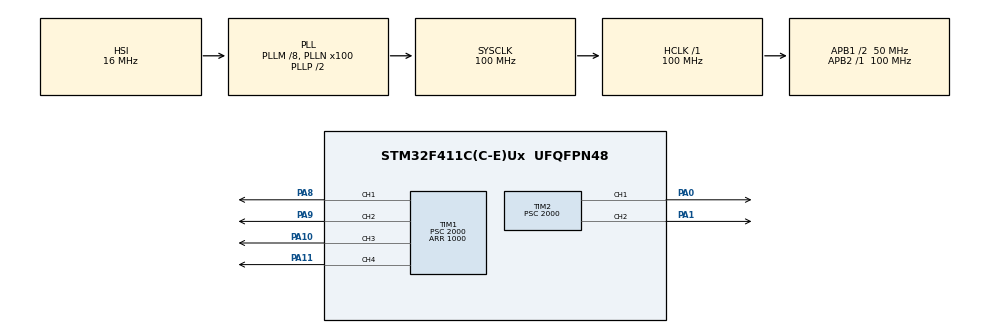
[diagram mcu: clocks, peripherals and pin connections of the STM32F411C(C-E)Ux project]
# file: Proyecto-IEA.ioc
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Mcu.Family=STM32F4
Mcu.Name=STM32F411C(C-E)Ux
Mcu.Package=UFQFPN48
NVIC.PriorityGroup=NVIC_PRIORITYGROUP_4
PA0-WKUP.Signal=S_TIM2_CH1_ETR
PA1.Signal=S_TIM2_CH2
PA10.Signal=S_TIM1_CH3
PA11.Signal=S_TIM1_CH4
PA8.Signal=S_TIM1_CH1
PA9.Signal=S_TIM1_CH2
ProjectManager.HeapSize=0x200
ProjectManager.StackSize=0x400
ProjectManager.TargetToolchain=STM32CubeIDE
RCC.48MHZClocksFreq_Value=50000000
RCC.AHBFreq_Value=100000000
RCC.APB1CLKDivider=RCC_HCLK_DIV2
RCC.APB1Freq_Value=50000000
RCC.APB1TimFreq_Value=100000000
RCC.APB2Freq_Value=100000000
RCC.APB2TimFreq_Value=100000000
RCC.CortexFreq_Value=100000000
RCC.HCLKFreq_Value=100000000
RCC.HSE_VALUE=25000000
RCC.HSI_VALUE=16000000
RCC.LSE_VALUE=32768
RCC.PLLM=8
RCC.PLLN=100
RCC.SYSCLKFreq_VALUE=100000000
RCC.SYSCLKSource=RCC_SYSCLKSOURCE_PLLCLK
RCC.VCOOutputFreq_Value=200000000
SH.S_TIM1_CH1.0=TIM1_CH1,PWM Generation1 CH1
SH.S_TIM1_CH2.0=TIM1_CH2,PWM Generation2 CH2
SH.S_TIM1_CH3.0=TIM1_CH3,PWM Generation3 CH3
SH.S_TIM1_CH4.0=TIM1_CH4,PWM Generation4 CH4
SH.S_TIM2_CH1_ETR.0=TIM2_CH1,PWM Generation1 CH1
SH.S_TIM2_CH2.0=TIM2_CH2,PWM Generation2 CH2
TIM1.Channel-PWM\ Generation1\ CH1=TIM_CHANNEL_1
TIM1.Channel-PWM\ Generation2\ CH2=TIM_CHANNEL_2
TIM1.Channel-PWM\ Generation3\ CH3=TIM_CHANNEL_3
TIM1.Channel-PWM\ Generation4\ CH4=TIM_CHANNEL_4
TIM1.Period=1000
TIM1.Prescaler=2000
TIM2.Channel-PWM\ Generation1\ CH1=TIM_CHANNEL_1
TIM2.Channel-PWM\ Generation2\ CH2=TIM_CHANNEL_2
TIM2.Period=1000
TIM2.Prescaler=2000
VP_RTC_VS_RTC_Activate.Mode=RTC_Enabled
board=custom

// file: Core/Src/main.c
/* USER CODE BEGIN Header */
/**
  ******************************************************************************
  * @file           : main.c
  * @brief          : Main program body
  ******************************************************************************
  * @attention
  *
  * Copyright (c) 2025 STMicroelectronics.
  * All rights reserved.
  *
  * This software is licensed under terms that can be found in the LICENSE file
  * in the root directory of this software component.
  * If no LICENSE file comes with this software, it is provided AS-IS.
  *
  ******************************************************************************
  */
/* USER CODE END Header */
#include "main.h"

/* USER CODE BEGIN Includes */
#include "math.h"
#include "stdio.h"
/* USER CODE END Includes */

RTC_HandleTypeDef hrtc;

TIM_HandleTypeDef htim1;
TIM_HandleTypeDef htim2;

void SystemClock_Config(void);
static void MX_GPIO_Init(void);
static void MX_RTC_Init(void);
static void MX_TIM1_Init(void);
static void MX_TIM2_Init(void);

/* USER CODE BEGIN 0 */
static float os=0,x=157,y=-15,z=140,q=-0.87266463,q1,q2,q3,q4,gripper,Valor_de_PWM1,Valor_de_PWM2,Valor_de_PWM3,Valor_de_PWM4,Valor_de_PWM5,Valor_de_PWM6;
static int eje=1,angulos,conversion[2];

void Control_Servo(float Angulo,int Posicion){

		float Maximo,Minimo;

	  	 switch (Posicion)
	  	 {
	  	 case 1: //EJE
	  		  Minimo=24;
	  		  Maximo=123;
	  		  Valor_de_PWM1=Minimo + (((Maximo-Minimo)/(180-0))*Angulo-0);
		      htim1.Instance->CCR1=Valor_de_PWM1;
	  	 break;
	  	 case 2: //EJE2
	  		  Minimo=125;
	  		  Maximo= 30;
	  		  Valor_de_PWM2=Minimo + (((Maximo-Minimo)/(180-0))*Angulo-0);
		      htim1.Instance->CCR2=Valor_de_PWM2;
	  	 break;
	  	 case 3: //EJE3
	  		  Minimo=23;
	  		  Maximo=122;
	  		  Valor_de_PWM3=(Minimo + ((Angulo+90)*(Maximo-Minimo)/(180)));
		      htim1.Instance->CCR3=Valor_de_PWM3;
	  	 break;
	  	 case 4: //EJE4
	  		  Minimo=126;
	  		  Maximo=28;
	  		  Valor_de_PWM4=(Minimo + ((Angulo+90)*(Maximo-Minimo)/(180)));
		      htim1.Instance->CCR4=Valor_de_PWM4;
	  	 break;
	  	 case 5: // EJE 5 DESHABILITADO
	  		  Valor_de_PWM5=Minimo + (((Maximo-Minimo)/(180-0))*Angulo-0);
		      htim2.Instance->CCR1=Valor_de_PWM5;
	  	 break;
	  	 case 6: //GRIPPER 0=ABIERTO 180=CERRADO
	  		  Minimo=23;
	  		  Maximo=123;
	  		  Valor_de_PWM6=Minimo + (((Maximo-Minimo)/(180-0))*Angulo-0);
		      htim2.Instance->CCR2=Valor_de_PWM6;
	  	 break;

	  	 }
}

void Cinematica_Inversa(void){
	static float ex,ez,c,l1=97.23,l2=95,l3=92,l4=58;

	q1=atan2(y,x);
	ex=(x/cos(q1))-l4*cos(q);
	ez=z-l1-(l4*sin(q));
	c=(pow(ex,2)+pow(ez,2)-pow(l2,2)-pow(l3,2))/(2*l2*l3);
	q3=-acos(c);
	q2=atan2(ez,ex)-atan2((l3*sin(q3)),(l2+l3*cos(q3)));

    q4=q-q2-q3;

    q1=(q1*180)/3.141592653589;
    q2=(q2*180)/3.141592653589;
    q3=(q3*180)/3.141592653589;
    q4=(q4*180)/3.141592653589;

	 Control_Servo(q1,1);
	 Control_Servo(q2,2);
	 Control_Servo(q3,3);
	 Control_Servo(q4,4);
}
void abrirgripper(void){
	  HAL_Delay(1000);
	  Control_Servo(25,6);
	  HAL_Delay(1000);
}
void cerrargripper(void){
	  HAL_Delay(1000);
	  Control_Servo(180,6);
	  HAL_Delay(1000);
}
void secuencia(void){

	  abrirgripper();
	  x=175;
	  y=5;
	  z=65;
	  q=-0.837758064;
	  Cinematica_Inversa();
	  HAL_Delay(1000);

	  x=174;
	  y=27;
	  z=39;
	  q=-0.837758064;
	  Cinematica_Inversa();
	  HAL_Delay(1000);

	  x=203;
	  y=-15;
	  z=48;
	  q=-0.453785598;
	  Cinematica_Inversa();
	  HAL_Delay(1000);

	  x=201;
	  y=-15;
	  z=30;
	  q=-0.453785598;
	  Cinematica_Inversa();
	  cerrargripper();

	  x=150;
	  y=91;
	  z=77;
	  q=0.244346097;
	  Cinematica_Inversa();
	  HAL_Delay(1000);

	  x=111;
	  y=90;
	  z=232;
	  q=0.0174532924;
	  Cinematica_Inversa();
	  HAL_Delay(1000);

	  x=141;
	  y=20;
	  z=248;
	  q=0;
	  Cinematica_Inversa();
	  HAL_Delay(1000);

	  x=145;
	  y=-15;
	  z=260;
	  q=0;
	  Cinematica_Inversa();
	  HAL_Delay(1000);

	  x=192;
	  y=-15;
	  z=218;
	  q=0;
	  Cinematica_Inversa();
	  HAL_Delay(1000);
	  abrirgripper();

	  x=90;
	  y=-15;
	  z=218;
	  q=0;
	  Cinematica_Inversa();
	  HAL_Delay(1000);

	  x=84;
	  y=92;
	  z=45;
	  q=-1.79768908;
	  Cinematica_Inversa();
	  HAL_Delay(1000);

}
/* USER CODE END 0 */

int main(void)
{

  /* MCU Configuration--------------------------------------------------------*/

  /* Reset of all peripherals, Initializes the Flash interface and the Systick. */
  HAL_Init();

  /* Configure the system clock */
  SystemClock_Config();

  /* Initialize all configured peripherals */
  MX_GPIO_Init();
  MX_RTC_Init();
  MX_TIM1_Init();
  MX_TIM2_Init();

  /* USER CODE BEGIN 2 */
  HAL_TIM_PWM_Start(&htim1, TIM_CHANNEL_1);
  HAL_TIM_PWM_Start(&htim1, TIM_CHANNEL_2);
  HAL_TIM_PWM_Start(&htim1, TIM_CHANNEL_3);
  HAL_TIM_PWM_Start(&htim1, TIM_CHANNEL_4);
  HAL_TIM_PWM_Start(&htim2, TIM_CHANNEL_1);
  HAL_TIM_PWM_Start(&htim2, TIM_CHANNEL_2);
  /* USER CODE BEGIN 2 */
  secuencia();
  /* USER CODE END 2 */

  /* Infinite loop */
  while (1)
  {

	  HAL_Delay(2000);
  }
}

void SystemClock_Config(void)
{
  RCC_OscInitTypeDef RCC_OscInitStruct = {0};
  RCC_ClkInitTypeDef RCC_ClkInitStruct = {0};

  /** Configure the main internal regulator output voltage
  */
  __HAL_RCC_PWR_CLK_ENABLE();
  __HAL_PWR_VOLTAGESCALING_CONFIG(PWR_REGULATOR_VOLTAGE_SCALE1);

  /** Initializes the RCC Oscillators according to the specified parameters
  * in the RCC_OscInitTypeDef structure.
  */
  RCC_OscInitStruct.OscillatorType = RCC_OSCILLATORTYPE_HSI|RCC_OSCILLATORTYPE_LSI;
  RCC_OscInitStruct.HSIState = RCC_HSI_ON;
  RCC_OscInitStruct.HSICalibrationValue = RCC_HSICALIBRATION_DEFAULT;
  RCC_OscInitStruct.LSIState = RCC_LSI_ON;
  RCC_OscInitStruct.PLL.PLLState = RCC_PLL_ON;
  RCC_OscInitStruct.PLL.PLLSource = RCC_PLLSOURCE_HSI;
  RCC_OscInitStruct.PLL.PLLM = 8;
  RCC_OscInitStruct.PLL.PLLN = 100;
  RCC_OscInitStruct.PLL.PLLP = RCC_PLLP_DIV2;
  RCC_OscInitStruct.PLL.PLLQ = 4;
  if (HAL_RCC_OscConfig(&RCC_OscInitStruct) != HAL_OK)
  {
    Error_Handler();
  }

  /** Initializes the CPU, AHB and APB buses clocks
  */
  RCC_ClkInitStruct.ClockType = RCC_CLOCKTYPE_HCLK|RCC_CLOCKTYPE_SYSCLK
                              |RCC_CLOCKTYPE_PCLK1|RCC_CLOCKTYPE_PCLK2;
  RCC_ClkInitStruct.SYSCLKSource = RCC_SYSCLKSOURCE_PLLCLK;
  RCC_ClkInitStruct.AHBCLKDivider = RCC_SYSCLK_DIV1;
  RCC_ClkInitStruct.APB1CLKDivider = RCC_HCLK_DIV2;
  RCC_ClkInitStruct.APB2CLKDivider = RCC_HCLK_DIV1;

  if (HAL_RCC_ClockConfig(&RCC_ClkInitStruct, FLASH_LATENCY_3) != HAL_OK)
  {
    Error_Handler();
  }
}

static void MX_RTC_Init(void)
{

  /** Initialize RTC Only
  */
  hrtc.Instance = RTC;
  hrtc.Init.HourFormat = RTC_HOURFORMAT_24;
  hrtc.Init.AsynchPrediv = 127;
  hrtc.Init.SynchPrediv = 255;
  hrtc.Init.OutPut = RTC_OUTPUT_DISABLE;
  hrtc.Init.OutPutPolarity = RTC_OUTPUT_POLARITY_HIGH;
  hrtc.Init.OutPutType = RTC_OUTPUT_TYPE_OPENDRAIN;
  if (HAL_RTC_Init(&hrtc) != HAL_OK)
  {
    Error_Handler();
  }

}

static void MX_TIM1_Init(void)
{

  TIM_MasterConfigTypeDef sMasterConfig = {0};
  TIM_OC_InitTypeDef sConfigOC = {0};
  TIM_BreakDeadTimeConfigTypeDef sBreakDeadTimeConfig = {0};

  htim1.Instance = TIM1;
  htim1.Init.Prescaler = 2000;
  htim1.Init.CounterMode = TIM_COUNTERMODE_UP;
  htim1.Init.Period = 1000;
  htim1.Init.ClockDivision = TIM_CLOCKDIVISION_DIV1;
  htim1.Init.RepetitionCounter = 0;
  htim1.Init.AutoReloadPreload = TIM_AUTORELOAD_PRELOAD_DISABLE;
  if (HAL_TIM_PWM_Init(&htim1) != HAL_OK)
  {
    Error_Handler();
  }
  sMasterConfig.MasterOutputTrigger = TIM_TRGO_RESET;
  sMasterConfig.MasterSlaveMode = TIM_MASTERSLAVEMODE_DISABLE;
  if (HAL_TIMEx_MasterConfigSynchronization(&htim1, &sMasterConfig) != HAL_OK)
  {
    Error_Handler();
  }
  sConfigOC.OCMode = TIM_OCMODE_PWM1;
  sConfigOC.Pulse = 0;
  sConfigOC.OCPolarity = TIM_OCPOLARITY_HIGH;
  sConfigOC.OCNPolarity = TIM_OCNPOLARITY_HIGH;
  sConfigOC.OCFastMode = TIM_OCFAST_DISABLE;
  sConfigOC.OCIdleState = TIM_OCIDLESTATE_RESET;
  sConfigOC.OCNIdleState = TIM_OCNIDLESTATE_RESET;
  if (HAL_TIM_PWM_ConfigChannel(&htim1, &sConfigOC, TIM_CHANNEL_1) != HAL_OK)
  {
    Error_Handler();
  }
  if (HAL_TIM_PWM_ConfigChannel(&htim1, &sConfigOC, TIM_CHANNEL_2) != HAL_OK)
  {
    Error_Handler();
  }
  if (HAL_TIM_PWM_ConfigChannel(&htim1, &sConfigOC, TIM_CHANNEL_3) != HAL_OK)
  {
    Error_Handler();
  }
  if (HAL_TIM_PWM_ConfigChannel(&htim1, &sConfigOC, TIM_CHANNEL_4) != HAL_OK)
  {
    Error_Handler();
  }
  sBreakDeadTimeConfig.OffStateRunMode = TIM_OSSR_DISABLE;
  sBreakDeadTimeConfig.OffStateIDLEMode = TIM_OSSI_DISABLE;
  sBreakDeadTimeConfig.LockLevel = TIM_LOCKLEVEL_OFF;
  sBreakDeadTimeConfig.DeadTime = 0;
  sBreakDeadTimeConfig.BreakState = TIM_BREAK_DISABLE;
  sBreakDeadTimeConfig.BreakPolarity = TIM_BREAKPOLARITY_HIGH;
  sBreakDeadTimeConfig.AutomaticOutput = TIM_AUTOMATICOUTPUT_DISABLE;
  if (HAL_TIMEx_ConfigBreakDeadTime(&htim1, &sBreakDeadTimeConfig) != HAL_OK)
  {
    Error_Handler();
  }
  HAL_TIM_MspPostInit(&htim1);

}

static void MX_TIM2_Init(void)
{

  TIM_MasterConfigTypeDef sMasterConfig = {0};
  TIM_OC_InitTypeDef sConfigOC = {0};

  htim2.Instance = TIM2;
  htim2.Init.Prescaler = 2000;
  htim2.Init.CounterMode = TIM_COUNTERMODE_UP;
  htim2.Init.Period = 1000;
  htim2.Init.ClockDivision = TIM_CLOCKDIVISION_DIV1;
  htim2.Init.AutoReloadPreload = TIM_AUTORELOAD_PRELOAD_DISABLE;
  if (HAL_TIM_PWM_Init(&htim2) != HAL_OK)
  {
    Error_Handler();
  }
  sMasterConfig.MasterOutputTrigger = TIM_TRGO_RESET;
  sMasterConfig.MasterSlaveMode = TIM_MASTERSLAVEMODE_DISABLE;
  if (HAL_TIMEx_MasterConfigSynchronization(&htim2, &sMasterConfig) != HAL_OK)
  {
    Error_Handler();
  }
  sConfigOC.OCMode = TIM_OCMODE_PWM1;
  sConfigOC.Pulse = 0;
  sConfigOC.OCPolarity = TIM_OCPOLARITY_HIGH;
  sConfigOC.OCFastMode = TIM_OCFAST_DISABLE;
  if (HAL_TIM_PWM_ConfigChannel(&htim2, &sConfigOC, TIM_CHANNEL_1) != HAL_OK)
  {
    Error_Handler();
  }
  if (HAL_TIM_PWM_ConfigChannel(&htim2, &sConfigOC, TIM_CHANNEL_2) != HAL_OK)
  {
    Error_Handler();
  }
  HAL_TIM_MspPostInit(&htim2);

}

static void MX_GPIO_Init(void)
{

  /* GPIO Ports Clock Enable */
  __HAL_RCC_GPIOA_CLK_ENABLE();

}

void Error_Handler(void)
{
  __disable_irq();
  while (1)
  {
  }
}
